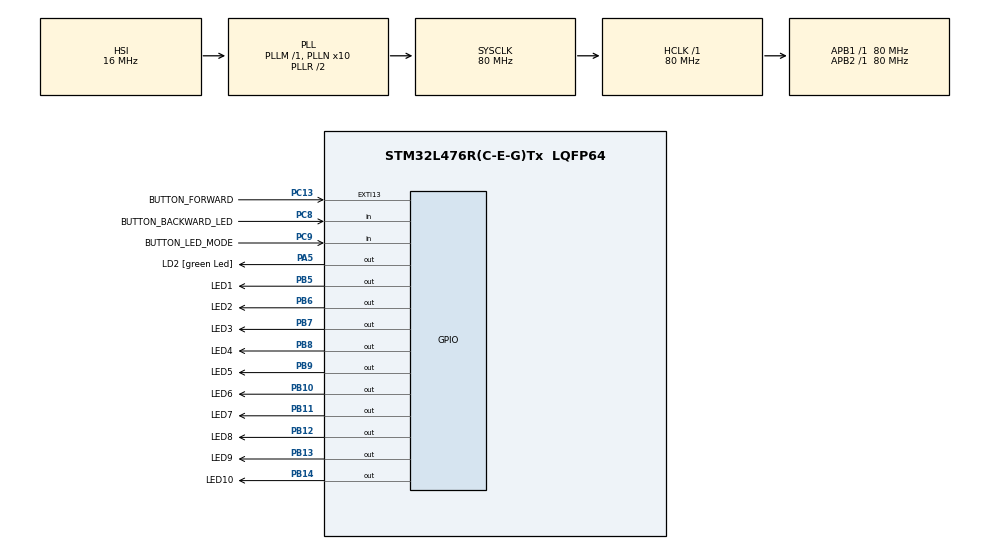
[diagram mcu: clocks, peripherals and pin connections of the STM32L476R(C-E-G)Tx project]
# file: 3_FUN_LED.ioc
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Mcu.Family=STM32L4
Mcu.Name=STM32L476R(C-E-G)Tx
Mcu.Package=LQFP64
NVIC.PriorityGroup=NVIC_PRIORITYGROUP_4
PA5.GPIO_Label=LD2 [green Led]
PA5.GPIO_ModeDefaultOutputPP=GPIO_MODE_OUTPUT_PP
PA5.GPIO_PuPd=GPIO_NOPULL
PA5.GPIO_Speed=GPIO_SPEED_FREQ_LOW
PA5.Signal=GPIO_Output
PB10.GPIO_Label=LED6
PB10.Signal=GPIO_Output
PB11.GPIO_Label=LED7
PB11.Signal=GPIO_Output
PB12.GPIO_Label=LED8
PB12.Signal=GPIO_Output
PB13.GPIO_Label=LED9
PB13.Signal=GPIO_Output
PB14.GPIO_Label=LED10
PB14.Signal=GPIO_Output
PB5.GPIO_Label=LED1
PB5.Signal=GPIO_Output
PB6.GPIO_Label=LED2
PB6.Signal=GPIO_Output
PB7.GPIO_Label=LED3
PB7.Signal=GPIO_Output
PB8.GPIO_Label=LED4
PB8.Signal=GPIO_Output
PB9.GPIO_Label=LED5
PB9.Signal=GPIO_Output
PC13.GPIO_Label=BUTTON_FORWARD
PC13.GPIO_ModeDefaultEXTI=GPIO_MODE_IT_FALLING
PC13.GPIO_PuPd=GPIO_NOPULL
PC13.Signal=GPXTI13
PC8.GPIO_Label=BUTTON_BACKWARD_LED
PC8.GPIO_PuPd=GPIO_PULLUP
PC8.Signal=GPIO_Input
PC9.GPIO_Label=BUTTON_LED_MODE
PC9.GPIO_PuPd=GPIO_PULLUP
PC9.Signal=GPIO_Input
ProjectManager.HeapSize=0x200
ProjectManager.StackSize=0x400
ProjectManager.TargetToolchain=STM32CubeIDE
RCC.ADCFreq_Value=64000000
RCC.AHBFreq_Value=80000000
RCC.APB1Freq_Value=80000000
RCC.APB1TimFreq_Value=80000000
RCC.APB2Freq_Value=80000000
RCC.APB2TimFreq_Value=80000000
RCC.CortexFreq_Value=80000000
RCC.HCLKFreq_Value=80000000
RCC.HSE_VALUE=8000000
RCC.HSI_VALUE=16000000
RCC.LSE_VALUE=32768
RCC.MSI_VALUE=4000000
RCC.PLLN=10
RCC.PLLSAI1Q=RCC_PLLQ_DIV4
RCC.PLLSourceVirtual=RCC_PLLSOURCE_HSI
RCC.PREFETCH_ENABLE=1
RCC.SYSCLKFreq_VALUE=80000000
RCC.SYSCLKSource=RCC_SYSCLKSOURCE_PLLCLK
RCC.USBFreq_Value=32000000
RCC.VCOOutputFreq_Value=160000000
VP_RNG_VS_RNG.Mode=RNG_Activate
board=NUCLEO-L476RG

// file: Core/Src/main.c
/* USER CODE BEGIN Header */
/**
 ******************************************************************************
 * @file           : main.c
 * @brief          : Main program body
 ******************************************************************************
 * @attention
 *
 * Copyright (c) 2023 STMicroelectronics.
 * All rights reserved.
 *
 * This software is licensed under terms that can be found in the LICENSE file
 * in the root directory of this software component.
 * If no LICENSE file comes with this software, it is provided AS-IS.
 *
 ******************************************************************************
 */
/* USER CODE END Header */
#include "main.h"

/* USER CODE BEGIN Includes */
#include <stdbool.h>
#include <math.h>
/* USER CODE END Includes */

/* USER CODE BEGIN PTD */
typedef void (*button_event_t)();

typedef struct
{
  GPIO_TypeDef *port;
  uint16_t pin;
} pin_t;

typedef struct
{
  GPIO_PinState lastState;
  pin_t buttonPin;
  button_event_t onRelease;
  button_event_t onLongpress;
  uint32_t bounceStartTimeMillis;
  uint32_t longpressTimeMillis;
} button_t;

typedef enum
{
  MODE_MANUAL,
  MODE_ANIMATED
} mode_t;

typedef enum
{
  BACKWARD = -1,
  FORWARD = 1
} direction_t;

typedef void (*transition_handler_t)();

typedef enum
{
  TRANSITION_SIMPLE,
  TRANSITION_BOUNCE,
  TRANSITION_TOGGLE_SIMPLE,
  TRANSITION_TOGGLE_BOUNCE,
  TRANSITION_TWOCOLORS,
  TRANSITION_CROSSROADS,
  TRANSITION_NOISE,
  TRANSITION_RAINDROPS,
  TRANSITIONS_COUNT
} transition_t;

/* USER CODE END PTD */

/* USER CODE BEGIN PD */
#define BOUNCE_TIME_MILLIS 50
#define LONGPRESS_TIME_MILLIS 500
#define TRANSITION_INITIAL_LEVEL 8
#define TRANSITION_INTERVAL_BASE 2
/* USER CODE END PD */

/* USER CODE BEGIN PM */
#define ARRLEN(x) (sizeof(x) / sizeof(x)[0]) // count number of elemnts in array - divide size of whole array, by size of one of elements inside it

/* USER CODE END PM */

RNG_HandleTypeDef hrng;

/* USER CODE BEGIN PV */
static const pin_t LED[] = {
    {LED1_GPIO_Port, LED1_Pin},
    {LED2_GPIO_Port, LED2_Pin},
    {LED3_GPIO_Port, LED3_Pin},
    {LED4_GPIO_Port, LED4_Pin},
    {LED5_GPIO_Port, LED5_Pin},
    {LED6_GPIO_Port, LED6_Pin},
    {LED7_GPIO_Port, LED7_Pin},
    {LED8_GPIO_Port, LED8_Pin},
    {LED9_GPIO_Port, LED9_Pin},
    {LED10_GPIO_Port, LED10_Pin},
};
static const int LEDS_COUNT = ARRLEN(LED);
static uint32_t interval = 128;
static int intervalLevel = TRANSITION_INITIAL_LEVEL;
static uint32_t transitionTimer = 0;
static transition_t transition = TRANSITION_SIMPLE;
static mode_t mode = MODE_MANUAL;
static direction_t direction = FORWARD;
static int led = -1;
static uint32_t randResult = 0;
static int rainAnimationStage = 0;

/* USER CODE END PV */

void SystemClock_Config(void);
static void MX_GPIO_Init(void);
static void MX_RNG_Init(void);

/* USER CODE BEGIN 0 */

/*The force argument is needed to force an update - this is done with a button. Since it is a function, it will be used without "force" in the main loop,
and with "force" in the button event functions.
*/

// LED STEERING STUFF
void led_set(int led, bool turn_on)
{
  GPIO_PinState state = (turn_on) ? GPIO_PIN_SET : GPIO_PIN_RESET;
  if (led >= 0 && led < LEDS_COUNT)
  {
    HAL_GPIO_WritePin(LED[led].port, LED[led].pin, state);
  }
  else
  {
    HAL_GPIO_WritePin(LED1_GPIO_Port, LED1_Pin, state);
  }
}

void leds_clear()
{
  for (int i = 0; i < LEDS_COUNT; i++)
  {
    led_set(i, false);
  }
}

void led_toggle(int led)
{
  if (led >= 0 && led < LEDS_COUNT)
    HAL_GPIO_TogglePin(LED[led].port, LED[led].pin);
}

int randLED()
{
  HAL_RNG_GenerateRandomNumber(&hrng, &randResult);
  return randResult % LEDS_COUNT;
}

// ANIMATIONS
void simpleTransitionAnimation()
{
  led_set(led, false);
  led += direction;
  if (direction == BACKWARD && led < 0)
    led += LEDS_COUNT;
  else if (direction == FORWARD && led >= LEDS_COUNT)
    led -= LEDS_COUNT;
  led_set(led, true);
}

void bounceAnimation()
{
  led_set(led, false);

  led += direction;
  if (direction == BACKWARD && led < 0)
  {
    led = -led;
    direction = FORWARD;
  }
  else if (direction == FORWARD && led >= LEDS_COUNT)
  {
    led = led - LEDS_COUNT + 1;
    led = LEDS_COUNT - led - 1;
    direction = BACKWARD;
  }

  led_set(led, true);
}

void toggleSimpleAnimation()
{
  led_toggle(led);

  led += direction;
  if (direction == BACKWARD && led < 0)
    led += LEDS_COUNT;
  else if (direction == FORWARD && led >= LEDS_COUNT)
    led -= LEDS_COUNT;
}

void bounceToggleAnimation()
{
  led_toggle(led);

  led += direction;
  if (direction == BACKWARD && led < 0)
  {
    led = -led - 1;
    direction = FORWARD;
  }
  else if (direction == FORWARD && led >= LEDS_COUNT)
  {
    led = led - LEDS_COUNT + 1;
    led = LEDS_COUNT - led;
    direction = BACKWARD;
  }
}

void twocolorsAnimation()
{
  for (int i = 0; i < LEDS_COUNT / 2; ++i)
    led_set(i * 2 + led, false);

  led ^= 1;

  for (int i = 0; i < LEDS_COUNT / 2; ++i)
    led_set(i * 2 + led, true);
}

void crossroadsAnimation()
{
  led_set(led, false);
  led_set(LEDS_COUNT - led - 1, false);

  led += direction;
  if (direction == BACKWARD && led < 0)
    led += LEDS_COUNT;
  else if (direction == FORWARD && led >= LEDS_COUNT)
    led -= LEDS_COUNT;

  led_set(led, true);
  led_set(LEDS_COUNT - led - 1, true);
}

void noiseAnimation()
{
  led_set(led, false);

  led = randLED();

  led_set(led, true);
}

void raindropsAnimation()
{
  if (rainAnimationStage == 0)
  {
    led = randLED();
    led_set(led, true);
  }
  else if (rainAnimationStage == 1)
  {
    led_set(led - 1, true);
    led_set(led + 1, true);
  }
  else if (rainAnimationStage == 2)
  {
    led_set(led, false);
    led_set(led - 2, true);
    led_set(led + 2, true);
  }
  else if (rainAnimationStage == 3)
  {
    led_set(led - 1, false);
    led_set(led + 1, false);
  }
  else if (rainAnimationStage == 4)
  {
    led_set(led - 2, false);
    led_set(led + 2, false);
  }

  if (++rainAnimationStage > 4)
    rainAnimationStage = 0;
}
// HANDLER FOR ANIMATIONS CHOOSING
static transition_handler_t animations[TRANSITIONS_COUNT] = {simpleTransitionAnimation, bounceAnimation, toggleSimpleAnimation, bounceToggleAnimation, twocolorsAnimation, crossroadsAnimation, noiseAnimation, raindropsAnimation};

void animate(bool force)
{
  if (force || ((mode == MODE_ANIMATED) && (HAL_GetTick() - transitionTimer > interval)))
  {
    // execute selected transition
    animations[transition]();

    if (!force)
      transitionTimer += interval;
  }
}

// BUTTONS FUNCTIONS

// MODE BUTTON

void pressModeChangeTransiton()
{
  if (mode != MODE_MANUAL)
  {
    transitionTimer = HAL_GetTick();
    leds_clear();
    led = 0;
    direction = FORWARD;
  }

  if (++transition >= TRANSITIONS_COUNT)
    transition = TRANSITION_SIMPLE;
}

void longpressModeChange()
{
  if (mode == MODE_MANUAL)
  {
    transitionTimer = HAL_GetTick();
    mode = MODE_ANIMATED;
  }
  else
    mode = MODE_MANUAL;
  return;
}

// BACKWARD BUTTON

void longpressBackward()
{
  direction = BACKWARD;
}

void longpressForward()
{
  direction = FORWARD;
}

// FORWARD BUTTON

void pressForward()
{
  if (mode == MODE_MANUAL)
  {
    direction = FORWARD;
    animate(true);
  }
  else
  {
    if (--intervalLevel < 1)
      intervalLevel = 1;
    interval = (int)pow(TRANSITION_INTERVAL_BASE, intervalLevel);
  }
}

void pressBackward()
{
  if (mode == MODE_MANUAL)
  {
    direction = BACKWARD;
    animate(true);
  }
  else
  {
    ++intervalLevel;
    interval = (int)pow(TRANSITION_INTERVAL_BASE, intervalLevel);
  }
}

static button_t buttons[] = {
    {GPIO_PIN_RESET, {BUTTON_BACKWARD_LED_GPIO_Port, BUTTON_BACKWARD_LED_Pin}, pressBackward, longpressBackward, 0, 0},
    {GPIO_PIN_RESET, {BUTTON_FORWARD_GPIO_Port, BUTTON_FORWARD_Pin}, pressForward, longpressForward, 0, 0},
    {GPIO_PIN_RESET, {BUTTON_LED_MODE_GPIO_Port, BUTTON_LED_MODE_Pin}, pressModeChangeTransiton, longpressModeChange, 0, 0}

};

static const int BUTTONS_COUNT = ARRLEN(buttons);

void checkAllButtonsEvents()
{
  uint32_t millis = HAL_GetTick();

  for (int i = 0; i < BUTTONS_COUNT; ++i)
  {
    button_t *button = &buttons[i];

    if (millis - button->bounceStartTimeMillis > BOUNCE_TIME_MILLIS)
    {
      GPIO_TypeDef *port = button->buttonPin.port;
      int pin = button->buttonPin.pin;
      GPIO_PinState currentState = HAL_GPIO_ReadPin(port, pin);

      if (button->lastState == GPIO_PIN_RESET && currentState == GPIO_PIN_SET)
      {
        // on release event
        if (button->longpressTimeMillis > 0)
        {
          button->bounceStartTimeMillis = millis;
          button->onRelease();
        }
      }
      else if (button->lastState == GPIO_PIN_SET && currentState == GPIO_PIN_RESET)
      {
        // on press event -> on longpress event
        button->longpressTimeMillis = millis;
      }
      else if (currentState == GPIO_PIN_RESET)
      {
        if (button->longpressTimeMillis > 0)
        {
          if (millis - button->longpressTimeMillis > LONGPRESS_TIME_MILLIS)
          {
            button->longpressTimeMillis = 0;
            button->onLongpress();
          }
        }
      }

      button->lastState = currentState;
    }
  }
}

/* USER CODE END 0 */

int main(void)
{

  /* MCU Configuration--------------------------------------------------------*/

  /* Reset of all peripherals, Initializes the Flash interface and the Systick. */
  HAL_Init();

  /* Configure the system clock */
  SystemClock_Config();

  /* Initialize all configured peripherals */
  MX_GPIO_Init();
  MX_RNG_Init();

  /* Infinite loop */
  /* USER CODE BEGIN WHILE */
  while (1)
  {
    checkAllButtonsEvents();
    animate(false);
    /* USER CODE END WHILE */

  }
}

void SystemClock_Config(void)
{
  RCC_OscInitTypeDef RCC_OscInitStruct = {0};
  RCC_ClkInitTypeDef RCC_ClkInitStruct = {0};

  /** Configure the main internal regulator output voltage
   */
  if (HAL_PWREx_ControlVoltageScaling(PWR_REGULATOR_VOLTAGE_SCALE1) != HAL_OK)
  {
    Error_Handler();
  }

  /** Initializes the RCC Oscillators according to the specified parameters
   * in the RCC_OscInitTypeDef structure.
   */
  RCC_OscInitStruct.OscillatorType = RCC_OSCILLATORTYPE_HSI;
  RCC_OscInitStruct.HSIState = RCC_HSI_ON;
  RCC_OscInitStruct.HSICalibrationValue = RCC_HSICALIBRATION_DEFAULT;
  RCC_OscInitStruct.PLL.PLLState = RCC_PLL_ON;
  RCC_OscInitStruct.PLL.PLLSource = RCC_PLLSOURCE_HSI;
  RCC_OscInitStruct.PLL.PLLM = 1;
  RCC_OscInitStruct.PLL.PLLN = 10;
  RCC_OscInitStruct.PLL.PLLP = RCC_PLLP_DIV7;
  RCC_OscInitStruct.PLL.PLLQ = RCC_PLLQ_DIV2;
  RCC_OscInitStruct.PLL.PLLR = RCC_PLLR_DIV2;
  if (HAL_RCC_OscConfig(&RCC_OscInitStruct) != HAL_OK)
  {
    Error_Handler();
  }

  /** Initializes the CPU, AHB and APB buses clocks
   */
  RCC_ClkInitStruct.ClockType = RCC_CLOCKTYPE_HCLK | RCC_CLOCKTYPE_SYSCLK | RCC_CLOCKTYPE_PCLK1 | RCC_CLOCKTYPE_PCLK2;
  RCC_ClkInitStruct.SYSCLKSource = RCC_SYSCLKSOURCE_PLLCLK;
  RCC_ClkInitStruct.AHBCLKDivider = RCC_SYSCLK_DIV1;
  RCC_ClkInitStruct.APB1CLKDivider = RCC_HCLK_DIV1;
  RCC_ClkInitStruct.APB2CLKDivider = RCC_HCLK_DIV1;

  if (HAL_RCC_ClockConfig(&RCC_ClkInitStruct, FLASH_LATENCY_4) != HAL_OK)
  {
    Error_Handler();
  }
}

static void MX_RNG_Init(void)
{

  hrng.Instance = RNG;
  if (HAL_RNG_Init(&hrng) != HAL_OK)
  {
    Error_Handler();
  }
}

static void MX_GPIO_Init(void)
{
  GPIO_InitTypeDef GPIO_InitStruct = {0};

  /* GPIO Ports Clock Enable */
  __HAL_RCC_GPIOC_CLK_ENABLE();
  __HAL_RCC_GPIOA_CLK_ENABLE();
  __HAL_RCC_GPIOB_CLK_ENABLE();

  /*Configure GPIO pin Output Level */
  HAL_GPIO_WritePin(LD2_GPIO_Port, LD2_Pin, GPIO_PIN_RESET);

  /*Configure GPIO pin Output Level */
  HAL_GPIO_WritePin(GPIOB, LED6_Pin | LED7_Pin | LED8_Pin | LED9_Pin | LED10_Pin | LED1_Pin | LED2_Pin | LED3_Pin | LED4_Pin | LED5_Pin, GPIO_PIN_RESET);

  /*Configure GPIO pin : BUTTON_FORWARD_Pin */
  GPIO_InitStruct.Pin = BUTTON_FORWARD_Pin;
  GPIO_InitStruct.Mode = GPIO_MODE_IT_FALLING;
  GPIO_InitStruct.Pull = GPIO_NOPULL;
  HAL_GPIO_Init(BUTTON_FORWARD_GPIO_Port, &GPIO_InitStruct);

  /*Configure GPIO pin : LD2_Pin */
  GPIO_InitStruct.Pin = LD2_Pin;
  GPIO_InitStruct.Mode = GPIO_MODE_OUTPUT_PP;
  GPIO_InitStruct.Pull = GPIO_NOPULL;
  GPIO_InitStruct.Speed = GPIO_SPEED_FREQ_LOW;
  HAL_GPIO_Init(LD2_GPIO_Port, &GPIO_InitStruct);

  /*Configure GPIO pins : LED6_Pin LED7_Pin LED8_Pin LED9_Pin
                           LED10_Pin LED1_Pin LED2_Pin LED3_Pin
                           LED4_Pin LED5_Pin */
  GPIO_InitStruct.Pin = LED6_Pin | LED7_Pin | LED8_Pin | LED9_Pin | LED10_Pin | LED1_Pin | LED2_Pin | LED3_Pin | LED4_Pin | LED5_Pin;
  GPIO_InitStruct.Mode = GPIO_MODE_OUTPUT_PP;
  GPIO_InitStruct.Pull = GPIO_NOPULL;
  GPIO_InitStruct.Speed = GPIO_SPEED_FREQ_LOW;
  HAL_GPIO_Init(GPIOB, &GPIO_InitStruct);

  /*Configure GPIO pins : BUTTON_BACKWARD_LED_Pin BUTTON_LED_MODE_Pin */
  GPIO_InitStruct.Pin = BUTTON_BACKWARD_LED_Pin | BUTTON_LED_MODE_Pin;
  GPIO_InitStruct.Mode = GPIO_MODE_INPUT;
  GPIO_InitStruct.Pull = GPIO_PULLUP;
  HAL_GPIO_Init(GPIOC, &GPIO_InitStruct);

}

void Error_Handler(void)
{
  __disable_irq();
  while (1)
  {
  }
}
